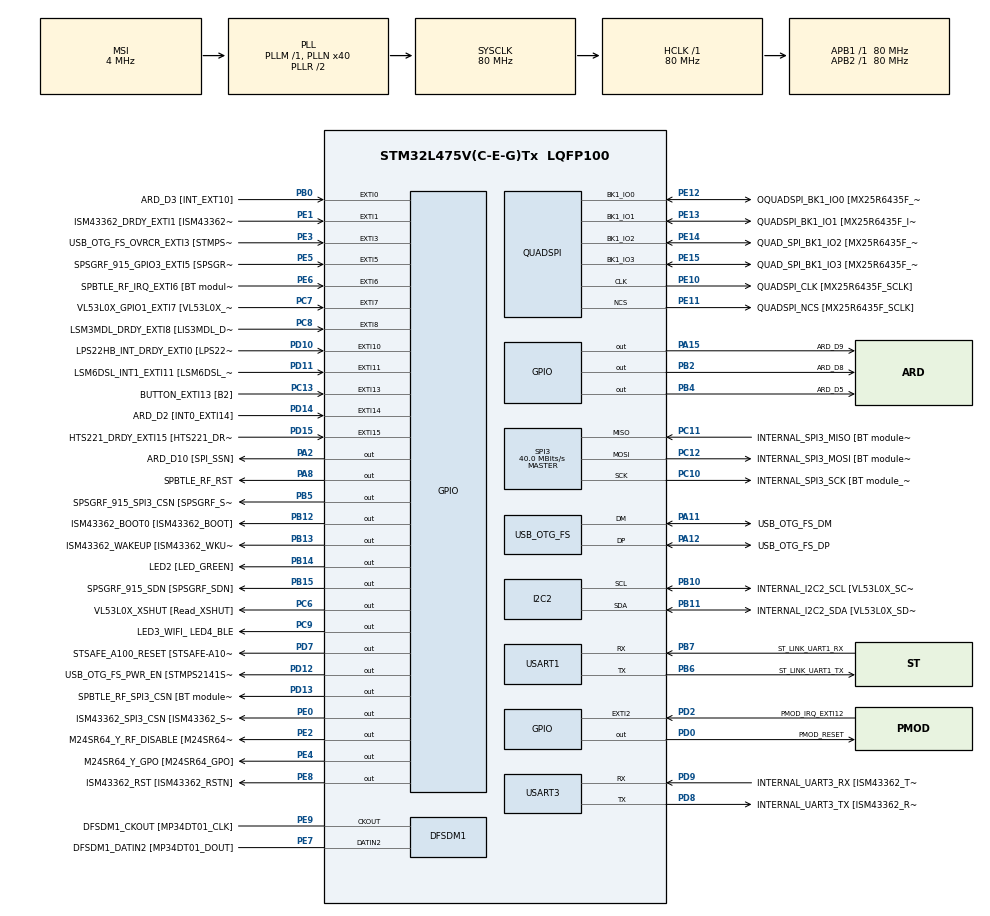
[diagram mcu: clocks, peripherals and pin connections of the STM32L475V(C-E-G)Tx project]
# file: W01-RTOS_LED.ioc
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FREERTOS.Mutexes01=LED2_Mutex,Static,LED2_MutexControlBlock,Available
FREERTOS.Tasks01=defaultTask,24,128,StartDefaultTask,Default,NULL,Dynamic,NULL,NULL;fastBlk,8,128,startFastBlk,Default,NULL,Static,fastBlkBuffer,fastBlkControlBlock;routineMT,16,128,startRoutineMT,Default,NULL,Static,routineMTBuffer,routineMTControlBlock;slowBlk,8,128,startSlowBlk,Default,NULL,Static,slowBlkBuffer,slowBlkControlBlock;btnBlkMT,16,128,startBtnBlkMT,Default,NULL,Static,btnBlkMTBuffer,btnBlkMTControlBlock;btnMT,8,128,startBtnMT,Default,NULL,Static,btnMTBuffer,btnMTControlBlock
FREERTOS.configUSE_NEWLIB_REENTRANT=1
Mcu.Family=STM32L4
Mcu.Name=STM32L475V(C-E-G)Tx
Mcu.Package=LQFP100
NVIC.EXTI15_10_IRQn=true\:5\:0\:false\:false\:true\:true\:true\:true\:true
NVIC.EXTI9_5_IRQn=true\:5\:0\:false\:false\:true\:true\:true\:true\:true
NVIC.PriorityGroup=NVIC_PRIORITYGROUP_4
NVIC.TIM6_DAC_IRQn=true\:15\:0\:false\:false\:true\:false\:false\:true\:true
NVIC.TimeBase=TIM6_DAC_IRQn
NVIC.TimeBaseIP=TIM6
PA0.GPIO_Label=ARD_D1 [UART4_TX]
PA0.Signal=UART4_TX
PA1.GPIO_Label=ARD_D0 [UART4_RX]
PA1.Signal=UART4_RX
PA10.GPIO_Label=USB_OTG_FS_ID
PA10.Signal=USB_OTG_FS_ID
PA11.GPIO_Label=USB_OTG_FS_DM
PA11.Mode=Device_Only
PA11.Signal=USB_OTG_FS_DM
PA12.GPIO_Label=USB_OTG_FS_DP
PA12.Mode=Device_Only
PA12.Signal=USB_OTG_FS_DP
PA13\ (JTMS-SWDIO).GPIO_Label=SYS_JTMS_SWDIO
PA13\ (JTMS-SWDIO).Mode=Serial_Wire
PA13\ (JTMS-SWDIO).Signal=SYS_JTMS-SWDIO
PA14\ (JTCK-SWCLK).GPIO_Label=SYS_JTCK_SWCLK
PA14\ (JTCK-SWCLK).Mode=Serial_Wire
PA14\ (JTCK-SWCLK).Signal=SYS_JTCK-SWCLK
PA15\ (JTDI).GPIO_Label=ARD_D9
PA15\ (JTDI).Signal=GPIO_Output
PA2.GPIO_Label=ARD_D10 [SPI_SSN]
PA2.Signal=GPIO_Output
PA3.GPIO_Label=ARD_D4
PA3.Signal=S_TIM2_CH4
PA4.GPIO_Label=ARD_D7
PA4.Signal=ADCx_IN9
PA5.GPIO_Label=ARD_D13 [SPI1_SCK]
PA5.Signal=SPI1_SCK
PA6.GPIO_Label=ARD_D12 [SPI1_MISO]
PA6.Signal=SPI1_MISO
PA7.GPIO_Label=ARD_D11 [SPI1_MOSI]
PA7.Signal=SPI1_MOSI
PA8.GPIO_Label=SPBTLE_RF_RST
PA8.Signal=GPIO_Output
PA9.GPIO_Label=USB_OTG_FS_VBUS [STMPS2141STR_OUT]
PA9.Signal=USB_OTG_FS_VBUS
PB0.GPIO_Label=ARD_D3 [INT_EXT10]
PB0.Signal=GPXTI0
PB1.GPIO_Label=ARD_D6 [ADC1_IN6]
PB1.Signal=ADCx_IN16
PB10.GPIO_Label=INTERNAL_I2C2_SCL [VL53L0X_SCL]
PB10.GPIO_Pu=GPIO_PULLUP
PB10.Mode=I2C
PB10.Signal=I2C2_SCL
PB11.GPIO_Label=INTERNAL_I2C2_SDA [VL53L0X_SDA]
PB11.GPIO_Pu=GPIO_PULLUP
PB11.Mode=I2C
PB11.Signal=I2C2_SDA
PB12.GPIO_Label=ISM43362_BOOT0 [ISM43362_BOOT]
PB12.Signal=GPIO_Output
PB13.GPIO_Label=ISM43362_WAKEUP [ISM43362_WKUP]
PB13.Signal=GPIO_Output
PB14.GPIO_Label=LED2 [LED_GREEN]
PB14.Signal=GPIO_Output
PB15.GPIO_Label=SPSGRF_915_SDN [SPSGRF_SDN]
PB15.Signal=GPIO_Output
PB2.GPIO_Label=ARD_D8
PB2.Signal=GPIO_Output
PB3\ (JTDO-TRACESWO).GPIO_Label=SYS_JTD0_SWO
PB3\ (JTDO-TRACESWO).Signal=SYS_JTDO-SWO
PB4\ (NJTRST).GPIO_Label=ARD_D5
PB4\ (NJTRST).Signal=GPIO_Output
PB5.GPIO_Label=SPSGRF_915_SPI3_CSN [SPSGRF_SPI_CS]
PB5.PinState=GPIO_PIN_SET
PB5.Signal=GPIO_Output
PB6.GPIO_Label=ST_LINK_UART1_TX
PB6.Mode=Asynchronous
PB6.Signal=USART1_TX
PB7.GPIO_Label=ST_LINK_UART1_RX
PB7.Mode=Asynchronous
PB7.Signal=USART1_RX
PB8.GPIO_Label=ARD_D15 [I2C1_SCL]
PB8.Signal=I2C1_SCL
PB9.GPIO_Label=ARD_D14 [I2C1_SDA]
PB9.Signal=I2C1_SDA
PC0.GPIO_Label=ARD_A5 [ADC]
PC0.Signal=ADCx_IN1
PC1.GPIO_Label=ARD_A4 [ADC]
PC1.Signal=ADCx_IN2
PC10.GPIO_Label=INTERNAL_SPI3_SCK [BT module_SPI_SCLK] [ISM43362_SCK]
PC10.Mode=Full_Duplex_Master
PC10.Signal=SPI3_SCK
PC11.GPIO_Label=INTERNAL_SPI3_MISO [BT module_SPI_MISO] [ISM43362_MISO]
PC11.Mode=Full_Duplex_Master
PC11.Signal=SPI3_MISO
PC12.GPIO_Label=INTERNAL_SPI3_MOSI [BT module_SPI_MOSI] [ISM43362_MOSI]
PC12.Mode=Full_Duplex_Master
PC12.Signal=SPI3_MOSI
PC13.GPIO_Label=BUTTON_EXTI13 [B2]
PC13.GPIO_ModeDefaultEXTI=GPIO_MODE_IT_FALLING
PC13.GPIO_PuPd=GPIO_PULLUP
PC13.Signal=GPXTI13
PC14-OSC32_IN\ (PC14).Mode=LSE-External-Oscillator
PC14-OSC32_IN\ (PC14).Signal=RCC_OSC32_IN
PC15-OSC32_OUT\ (PC15).Mode=LSE-External-Oscillator
PC15-OSC32_OUT\ (PC15).Signal=RCC_OSC32_OUT
PC2.GPIO_Label=ARD_A3 [ADC]
PC2.Signal=ADCx_IN3
PC3.GPIO_Label=ARD_A2 [ADC]
PC3.Signal=ADCx_IN4
PC4.GPIO_Label=ARD_A1 [ADC]
PC4.Signal=ADCx_IN13
PC5.GPIO_Label=ARD_A0 [ADC]
PC5.Signal=ADCx_IN14
PC6.GPIO_Label=VL53L0X_XSHUT [Read_XSHUT]
PC6.Signal=GPIO_Output
PC7.GPIO_Label=VL53L0X_GPIO1_EXTI7 [VL53L0X_GPIO1]
PC7.Signal=GPXTI7
PC8.GPIO_Label=LSM3MDL_DRDY_EXTI8 [LIS3MDL_DRDY]
PC8.Signal=GPXTI8
PC9.GPIO_Label=LED3_WIFI_ LED4_BLE
PC9.Signal=GPIO_Output
PD0.GPIO_Label=PMOD_RESET
PD0.Signal=GPIO_Output
PD1.GPIO_Label=PMOD_SPI2_SCK
PD1.Signal=SPI2_SCK
PD10.GPIO_Label=LPS22HB_INT_DRDY_EXTI0 [LPS22HB_INT_DRDY] 
PD10.Signal=GPXTI10
PD11.GPIO_Label=LSM6DSL_INT1_EXTI11 [LSM6DSL_INT1]
PD11.Signal=GPXTI11
PD12.GPIO_Label=USB_OTG_FS_PWR_EN [STMPS2141STR_EN]
PD12.Signal=GPIO_Output
PD13.GPIO_Label=SPBTLE_RF_SPI3_CSN [BT module_SPI_CS]
PD13.PinState=GPIO_PIN_SET
PD13.Signal=GPIO_Output
PD14.GPIO_Label=ARD_D2 [INT0_EXTI14]
PD14.Signal=GPXTI14
PD15.GPIO_Label=HTS221_DRDY_EXTI15 [HTS221_DRDY]
PD15.Signal=GPXTI15
PD2.GPIO_Label=PMOD_IRQ_EXTI12
PD2.Signal=GPXTI2
PD3.GPIO_Label=PMOD_UART2_CTS
PD3.Signal=USART2_CTS
PD4.GPIO_Label=PMOD_UART2_RTS
PD4.Signal=USART2_RTS
PD5.GPIO_Label=PMOD_UART2_TX
PD5.Signal=USART2_TX
PD6.GPIO_Label=PMOD_UART2_RX
PD6.Signal=USART2_RX
PD7.GPIO_Label=STSAFE_A100_RESET [STSAFE-A100_RESET]
PD7.Signal=GPIO_Output
PD8.GPIO_Label=INTERNAL_UART3_TX [ISM43362_RX]
PD8.Mode=Asynchronous
PD8.Signal=USART3_TX
PD9.GPIO_Label=INTERNAL_UART3_RX [ISM43362_TX]
PD9.Mode=Asynchronous
PD9.Signal=USART3_RX
PE0.GPIO_Label=ISM43362_SPI3_CSN [ISM43362_SSN]
PE0.PinState=GPIO_PIN_SET
PE0.Signal=GPIO_Output
PE1.GPIO_Label=ISM43362_DRDY_EXTI1 [ISM43362_DATARDY]
PE1.Signal=GPXTI1
PE10.GPIO_Label=QUADSPI_CLK [MX25R6435F_SCLK]
PE10.Mode=Single Bank
PE10.Signal=QUADSPI_CLK
PE11.GPIO_Label=QUADSPI_NCS [MX25R6435F_SCLK]
PE11.Mode=Single Bank
PE11.Signal=QUADSPI_NCS
PE12.GPIO_Label=OQUADSPI_BK1_IO0 [MX25R6435F_IO0]
PE12.Mode=Single Bank
PE12.Signal=QUADSPI_BK1_IO0
PE13.GPIO_Label=QUADSPI_BK1_IO1 [MX25R6435F_IO1]
PE13.Mode=Single Bank
PE13.Signal=QUADSPI_BK1_IO1
PE14.GPIO_Label=QUAD_SPI_BK1_IO2 [MX25R6435F_IO2]
PE14.Mode=Single Bank
PE14.Signal=QUADSPI_BK1_IO2
PE15.GPIO_Label=QUAD_SPI_BK1_IO3 [MX25R6435F_IO3]
PE15.Mode=Single Bank
PE15.Signal=QUADSPI_BK1_IO3
PE2.GPIO_Label=M24SR64_Y_RF_DISABLE [M24SR64_RFDIS]
PE2.Signal=GPIO_Output
PE3.GPIO_Label=USB_OTG_FS_OVRCR_EXTI3 [STMPS2141STR_FAULT]
PE3.Signal=GPXTI3
PE4.GPIO_Label=M24SR64_Y_GPO [M24SR64_GPO]
PE4.Signal=GPIO_Output
PE5.GPIO_Label=SPSGRF_915_GPIO3_EXTI5 [SPSGRF_GPIO_3]
PE5.Signal=GPXTI5
PE6.GPIO_Label=SPBTLE_RF_IRQ_EXTI6 [BT module_SPI_IRQ]
PE6.Signal=GPXTI6
PE7.GPIO_Label=DFSDM1_DATIN2 [MP34DT01_DOUT]
PE7.Signal=S_DATAIN2DFSDM1
PE8.GPIO_Label=ISM43362_RST [ISM43362_RSTN]
PE8.Signal=GPIO_Output
PE9.GPIO_Label=DFSDM1_CKOUT [MP34DT01_CLK]
PE9.Signal=S_CKOUTDFSDM1
ProjectManager.HeapSize=0x200
ProjectManager.StackSize=0x400
ProjectManager.TargetToolchain=STM32CubeIDE
QUADSPI.ClockPrescaler=2
QUADSPI.FifoThreshold=4
QUADSPI.FlashSize=23
QUADSPI.SampleShifting=QSPI_SAMPLE_SHIFTING_HALFCYCLE
RCC.ADCFreq_Value=48000000
RCC.AHBFreq_Value=80000000
RCC.APB1Freq_Value=80000000
RCC.APB1TimFreq_Value=80000000
RCC.APB2Freq_Value=80000000
RCC.APB2TimFreq_Value=80000000
RCC.CortexFreq_Value=80000000
RCC.HCLKFreq_Value=80000000
RCC.HSE_VALUE=8000000
RCC.HSI_VALUE=16000000
RCC.MSI_VALUE=4000000
RCC.PLLN=40
RCC.PLLSAI1N=24
RCC.SYSCLKFreq_VALUE=80000000
RCC.SYSCLKSource=RCC_SYSCLKSOURCE_PLLCLK
RCC.USBFreq_Value=48000000
RCC.VCOOutputFreq_Value=160000000
SH.ADCx_IN1.0=ADC1_IN1
SH.ADCx_IN13.0=ADC1_IN13
SH.ADCx_IN14.0=ADC1_IN14
SH.ADCx_IN16.0=ADC1_IN16
SH.ADCx_IN2.0=ADC1_IN2
SH.ADCx_IN3.0=ADC1_IN3
SH.ADCx_IN4.0=ADC1_IN4
SH.ADCx_IN9.0=ADC1_IN9
SH.S_CKOUTDFSDM1.0=DFSDM1_CKOUT,CKOUT
SH.S_CKOUTDFSDM1.1=DFSDM1_CKOUT,PDM_SPI_Input_from_ch12_and_Internal_Clock
SH.S_DATAIN2DFSDM1.0=DFSDM1_DATIN2,PDM_SPI_Input_from_ch12_and_Internal_Clock
SH.S_TIM2_CH4.0=TIM2_CH4
SPI3.CalculateBaudRate=40.0 MBits/s
SPI3.Direction=SPI_DIRECTION_2LINES
SPI3.Mode=SPI_MODE_MASTER
SPI3.VirtualType=VM_MASTER
USART1.VirtualMode-Asynchronous=VM_ASYNC
USART3.VirtualMode-Asynchronous=VM_ASYNC
USB_OTG_FS.VirtualMode=Device_Only
VP_FREERTOS_VS_CMSIS_V2.Mode=CMSIS_V2
VP_SYS_VS_tim6.Mode=TIM6
board=B-L475E-IOT01A2

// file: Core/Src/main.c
/* USER CODE BEGIN Header */
/**
  ******************************************************************************
  * @file           : main.c
  * @brief          : Main program body
  ******************************************************************************
  * @attention
  *
  * Copyright (c) 2025 STMicroelectronics.
  * All rights reserved.
  *
  * This software is licensed under terms that can be found in the LICENSE file
  * in the root directory of this software component.
  * If no LICENSE file comes with this software, it is provided AS-IS.
  *
  ******************************************************************************
  */
/* USER CODE END Header */
#include "main.h"
#include "cmsis_os.h"

typedef StaticTask_t osStaticThreadDef_t;
typedef StaticSemaphore_t osStaticMutexDef_t;

DFSDM_Channel_HandleTypeDef hdfsdm1_channel1;

I2C_HandleTypeDef hi2c2;

QSPI_HandleTypeDef hqspi;

SPI_HandleTypeDef hspi3;

UART_HandleTypeDef huart1;
UART_HandleTypeDef huart3;

PCD_HandleTypeDef hpcd_USB_OTG_FS;

/* Definitions for defaultTask */
osThreadId_t defaultTaskHandle;
const osThreadAttr_t defaultTask_attributes = {
  .name = "defaultTask",
  .stack_size = 128 * 4,
  .priority = (osPriority_t) osPriorityNormal,
};
/* Definitions for fastBlk */
osThreadId_t fastBlkHandle;
uint32_t fastBlkBuffer[ 128 ];
osStaticThreadDef_t fastBlkControlBlock;
const osThreadAttr_t fastBlk_attributes = {
  .name = "fastBlk",
  .cb_mem = &fastBlkControlBlock,
  .cb_size = sizeof(fastBlkControlBlock),
  .stack_mem = &fastBlkBuffer[0],
  .stack_size = sizeof(fastBlkBuffer),
  .priority = (osPriority_t) osPriorityLow,
};
/* Definitions for routineMT */
osThreadId_t routineMTHandle;
uint32_t routineMTBuffer[ 128 ];
osStaticThreadDef_t routineMTControlBlock;
const osThreadAttr_t routineMT_attributes = {
  .name = "routineMT",
  .cb_mem = &routineMTControlBlock,
  .cb_size = sizeof(routineMTControlBlock),
  .stack_mem = &routineMTBuffer[0],
  .stack_size = sizeof(routineMTBuffer),
  .priority = (osPriority_t) osPriorityBelowNormal,
};
/* Definitions for slowBlk */
osThreadId_t slowBlkHandle;
uint32_t slowBlkBuffer[ 128 ];
osStaticThreadDef_t slowBlkControlBlock;
const osThreadAttr_t slowBlk_attributes = {
  .name = "slowBlk",
  .cb_mem = &slowBlkControlBlock,
  .cb_size = sizeof(slowBlkControlBlock),
  .stack_mem = &slowBlkBuffer[0],
  .stack_size = sizeof(slowBlkBuffer),
  .priority = (osPriority_t) osPriorityLow,
};
/* Definitions for btnBlkMT */
osThreadId_t btnBlkMTHandle;
uint32_t btnBlkMTBuffer[ 128 ];
osStaticThreadDef_t btnBlkMTControlBlock;
const osThreadAttr_t btnBlkMT_attributes = {
  .name = "btnBlkMT",
  .cb_mem = &btnBlkMTControlBlock,
  .cb_size = sizeof(btnBlkMTControlBlock),
  .stack_mem = &btnBlkMTBuffer[0],
  .stack_size = sizeof(btnBlkMTBuffer),
  .priority = (osPriority_t) osPriorityBelowNormal,
};
/* Definitions for btnMT */
osThreadId_t btnMTHandle;
uint32_t btnMTBuffer[ 128 ];
osStaticThreadDef_t btnMTControlBlock;
const osThreadAttr_t btnMT_attributes = {
  .name = "btnMT",
  .cb_mem = &btnMTControlBlock,
  .cb_size = sizeof(btnMTControlBlock),
  .stack_mem = &btnMTBuffer[0],
  .stack_size = sizeof(btnMTBuffer),
  .priority = (osPriority_t) osPriorityLow,
};
/* Definitions for LED2_Mutex */
osMutexId_t LED2_MutexHandle;
osStaticMutexDef_t LED2_MutexControlBlock;
const osMutexAttr_t LED2_Mutex_attributes = {
  .name = "LED2_Mutex",
  .cb_mem = &LED2_MutexControlBlock,
  .cb_size = sizeof(LED2_MutexControlBlock),
};

void SystemClock_Config(void);
static void MX_GPIO_Init(void);
static void MX_DFSDM1_Init(void);
static void MX_I2C2_Init(void);
static void MX_QUADSPI_Init(void);
static void MX_SPI3_Init(void);
static void MX_USART1_UART_Init(void);
static void MX_USART3_UART_Init(void);
static void MX_USB_OTG_FS_PCD_Init(void);
void StartDefaultTask(void *argument);
void startFastBlk(void *argument);
void startRoutineMT(void *argument);
void startSlowBlk(void *argument);
void startBtnBlkMT(void *argument);
void startBtnMT(void *argument);

/* USER CODE BEGIN 0 */
int button = 0;
int short_press = -1, long_press = -1;
int routine_acquire = 1, btn_acquire = 1;
int test = -1;
/* USER CODE END 0 */

int main(void)
{

  /* MCU Configuration--------------------------------------------------------*/

  /* Reset of all peripherals, Initializes the Flash interface and the Systick. */
  HAL_Init();

  /* Configure the system clock */
  SystemClock_Config();

  /* Initialize all configured peripherals */
  MX_GPIO_Init();
  MX_DFSDM1_Init();
  MX_I2C2_Init();
  MX_QUADSPI_Init();
  MX_SPI3_Init();
  MX_USART1_UART_Init();
  MX_USART3_UART_Init();
  MX_USB_OTG_FS_PCD_Init();

  /* Init scheduler */
  osKernelInitialize();
  /* Create the mutex(es) */
  /* creation of LED2_Mutex */
  LED2_MutexHandle = osMutexNew(&LED2_Mutex_attributes);

  /* Create the thread(s) */
  /* creation of defaultTask */
  defaultTaskHandle = osThreadNew(StartDefaultTask, NULL, &defaultTask_attributes);

  /* creation of fastBlk */
  fastBlkHandle = osThreadNew(startFastBlk, NULL, &fastBlk_attributes);

  /* creation of routineMT */
  routineMTHandle = osThreadNew(startRoutineMT, NULL, &routineMT_attributes);

  /* creation of slowBlk */
  slowBlkHandle = osThreadNew(startSlowBlk, NULL, &slowBlk_attributes);

  /* creation of btnBlkMT */
  btnBlkMTHandle = osThreadNew(startBtnBlkMT, NULL, &btnBlkMT_attributes);

  /* creation of btnMT */
  btnMTHandle = osThreadNew(startBtnMT, NULL, &btnMT_attributes);

  /* USER CODE BEGIN RTOS_THREADS */
  /* add threads, ... */
  osThreadSuspend(fastBlkHandle);
  osThreadSuspend(slowBlkHandle);
  /* USER CODE END RTOS_THREADS */

  /* Start scheduler */
  osKernelStart();

  /* We should never get here as control is now taken by the scheduler */

  /* Infinite loop */
  while (1)
  {

  }
}

void SystemClock_Config(void)
{
  RCC_OscInitTypeDef RCC_OscInitStruct = {0};
  RCC_ClkInitTypeDef RCC_ClkInitStruct = {0};

  /** Configure the main internal regulator output voltage
  */
  if (HAL_PWREx_ControlVoltageScaling(PWR_REGULATOR_VOLTAGE_SCALE1) != HAL_OK)
  {
    Error_Handler();
  }

  /** Configure LSE Drive Capability
  */
  HAL_PWR_EnableBkUpAccess();
  __HAL_RCC_LSEDRIVE_CONFIG(RCC_LSEDRIVE_LOW);

  /** Initializes the RCC Oscillators according to the specified parameters
  * in the RCC_OscInitTypeDef structure.
  */
  RCC_OscInitStruct.OscillatorType = RCC_OSCILLATORTYPE_LSE|RCC_OSCILLATORTYPE_MSI;
  RCC_OscInitStruct.LSEState = RCC_LSE_ON;
  RCC_OscInitStruct.MSIState = RCC_MSI_ON;
  RCC_OscInitStruct.MSICalibrationValue = 0;
  RCC_OscInitStruct.MSIClockRange = RCC_MSIRANGE_6;
  RCC_OscInitStruct.PLL.PLLState = RCC_PLL_ON;
  RCC_OscInitStruct.PLL.PLLSource = RCC_PLLSOURCE_MSI;
  RCC_OscInitStruct.PLL.PLLM = 1;
  RCC_OscInitStruct.PLL.PLLN = 40;
  RCC_OscInitStruct.PLL.PLLP = RCC_PLLP_DIV7;
  RCC_OscInitStruct.PLL.PLLQ = RCC_PLLQ_DIV2;
  RCC_OscInitStruct.PLL.PLLR = RCC_PLLR_DIV2;
  if (HAL_RCC_OscConfig(&RCC_OscInitStruct) != HAL_OK)
  {
    Error_Handler();
  }

  /** Initializes the CPU, AHB and APB buses clocks
  */
  RCC_ClkInitStruct.ClockType = RCC_CLOCKTYPE_HCLK|RCC_CLOCKTYPE_SYSCLK
                              |RCC_CLOCKTYPE_PCLK1|RCC_CLOCKTYPE_PCLK2;
  RCC_ClkInitStruct.SYSCLKSource = RCC_SYSCLKSOURCE_PLLCLK;
  RCC_ClkInitStruct.AHBCLKDivider = RCC_SYSCLK_DIV1;
  RCC_ClkInitStruct.APB1CLKDivider = RCC_HCLK_DIV1;
  RCC_ClkInitStruct.APB2CLKDivider = RCC_HCLK_DIV1;

  if (HAL_RCC_ClockConfig(&RCC_ClkInitStruct, FLASH_LATENCY_4) != HAL_OK)
  {
    Error_Handler();
  }

  /** Enable MSI Auto calibration
  */
  HAL_RCCEx_EnableMSIPLLMode();
}

static void MX_DFSDM1_Init(void)
{

  hdfsdm1_channel1.Instance = DFSDM1_Channel1;
  hdfsdm1_channel1.Init.OutputClock.Activation = ENABLE;
  hdfsdm1_channel1.Init.OutputClock.Selection = DFSDM_CHANNEL_OUTPUT_CLOCK_SYSTEM;
  hdfsdm1_channel1.Init.OutputClock.Divider = 2;
  hdfsdm1_channel1.Init.Input.Multiplexer = DFSDM_CHANNEL_EXTERNAL_INPUTS;
  hdfsdm1_channel1.Init.Input.DataPacking = DFSDM_CHANNEL_STANDARD_MODE;
  hdfsdm1_channel1.Init.Input.Pins = DFSDM_CHANNEL_FOLLOWING_CHANNEL_PINS;
  hdfsdm1_channel1.Init.SerialInterface.Type = DFSDM_CHANNEL_SPI_RISING;
  hdfsdm1_channel1.Init.SerialInterface.SpiClock = DFSDM_CHANNEL_SPI_CLOCK_INTERNAL;
  hdfsdm1_channel1.Init.Awd.FilterOrder = DFSDM_CHANNEL_FASTSINC_ORDER;
  hdfsdm1_channel1.Init.Awd.Oversampling = 1;
  hdfsdm1_channel1.Init.Offset = 0;
  hdfsdm1_channel1.Init.RightBitShift = 0x00;
  if (HAL_DFSDM_ChannelInit(&hdfsdm1_channel1) != HAL_OK)
  {
    Error_Handler();
  }

}

static void MX_I2C2_Init(void)
{

  hi2c2.Instance = I2C2;
  hi2c2.Init.Timing = 0x00000E14;
  hi2c2.Init.OwnAddress1 = 0;
  hi2c2.Init.AddressingMode = I2C_ADDRESSINGMODE_7BIT;
  hi2c2.Init.DualAddressMode = I2C_DUALADDRESS_DISABLE;
  hi2c2.Init.OwnAddress2 = 0;
  hi2c2.Init.OwnAddress2Masks = I2C_OA2_NOMASK;
  hi2c2.Init.GeneralCallMode = I2C_GENERALCALL_DISABLE;
  hi2c2.Init.NoStretchMode = I2C_NOSTRETCH_DISABLE;
  if (HAL_I2C_Init(&hi2c2) != HAL_OK)
  {
    Error_Handler();
  }

  /** Configure Analogue filter
  */
  if (HAL_I2CEx_ConfigAnalogFilter(&hi2c2, I2C_ANALOGFILTER_ENABLE) != HAL_OK)
  {
    Error_Handler();
  }

  /** Configure Digital filter
  */
  if (HAL_I2CEx_ConfigDigitalFilter(&hi2c2, 0) != HAL_OK)
  {
    Error_Handler();
  }

}

static void MX_QUADSPI_Init(void)
{

  /* QUADSPI parameter configuration*/
  hqspi.Instance = QUADSPI;
  hqspi.Init.ClockPrescaler = 2;
  hqspi.Init.FifoThreshold = 4;
  hqspi.Init.SampleShifting = QSPI_SAMPLE_SHIFTING_HALFCYCLE;
  hqspi.Init.FlashSize = 23;
  hqspi.Init.ChipSelectHighTime = QSPI_CS_HIGH_TIME_1_CYCLE;
  hqspi.Init.ClockMode = QSPI_CLOCK_MODE_0;
  if (HAL_QSPI_Init(&hqspi) != HAL_OK)
  {
    Error_Handler();
  }

}

static void MX_SPI3_Init(void)
{

  /* SPI3 parameter configuration*/
  hspi3.Instance = SPI3;
  hspi3.Init.Mode = SPI_MODE_MASTER;
  hspi3.Init.Direction = SPI_DIRECTION_2LINES;
  hspi3.Init.DataSize = SPI_DATASIZE_4BIT;
  hspi3.Init.CLKPolarity = SPI_POLARITY_LOW;
  hspi3.Init.CLKPhase = SPI_PHASE_1EDGE;
  hspi3.Init.NSS = SPI_NSS_SOFT;
  hspi3.Init.BaudRatePrescaler = SPI_BAUDRATEPRESCALER_2;
  hspi3.Init.FirstBit = SPI_FIRSTBIT_MSB;
  hspi3.Init.TIMode = SPI_TIMODE_DISABLE;
  hspi3.Init.CRCCalculation = SPI_CRCCALCULATION_DISABLE;
  hspi3.Init.CRCPolynomial = 7;
  hspi3.Init.CRCLength = SPI_CRC_LENGTH_DATASIZE;
  hspi3.Init.NSSPMode = SPI_NSS_PULSE_ENABLE;
  if (HAL_SPI_Init(&hspi3) != HAL_OK)
  {
    Error_Handler();
  }

}

static void MX_USART1_UART_Init(void)
{

  huart1.Instance = USART1;
  huart1.Init.BaudRate = 115200;
  huart1.Init.WordLength = UART_WORDLENGTH_8B;
  huart1.Init.StopBits = UART_STOPBITS_1;
  huart1.Init.Parity = UART_PARITY_NONE;
  huart1.Init.Mode = UART_MODE_TX_RX;
  huart1.Init.HwFlowCtl = UART_HWCONTROL_NONE;
  huart1.Init.OverSampling = UART_OVERSAMPLING_16;
  huart1.Init.OneBitSampling = UART_ONE_BIT_SAMPLE_DISABLE;
  huart1.AdvancedInit.AdvFeatureInit = UART_ADVFEATURE_NO_INIT;
  if (HAL_UART_Init(&huart1) != HAL_OK)
  {
    Error_Handler();
  }

}

static void MX_USART3_UART_Init(void)
{

  huart3.Instance = USART3;
  huart3.Init.BaudRate = 115200;
  huart3.Init.WordLength = UART_WORDLENGTH_8B;
  huart3.Init.StopBits = UART_STOPBITS_1;
  huart3.Init.Parity = UART_PARITY_NONE;
  huart3.Init.Mode = UART_MODE_TX_RX;
  huart3.Init.HwFlowCtl = UART_HWCONTROL_NONE;
  huart3.Init.OverSampling = UART_OVERSAMPLING_16;
  huart3.Init.OneBitSampling = UART_ONE_BIT_SAMPLE_DISABLE;
  huart3.AdvancedInit.AdvFeatureInit = UART_ADVFEATURE_NO_INIT;
  if (HAL_UART_Init(&huart3) != HAL_OK)
  {
    Error_Handler();
  }

}

static void MX_USB_OTG_FS_PCD_Init(void)
{

  hpcd_USB_OTG_FS.Instance = USB_OTG_FS;
  hpcd_USB_OTG_FS.Init.dev_endpoints = 6;
  hpcd_USB_OTG_FS.Init.speed = PCD_SPEED_FULL;
  hpcd_USB_OTG_FS.Init.phy_itface = PCD_PHY_EMBEDDED;
  hpcd_USB_OTG_FS.Init.Sof_enable = DISABLE;
  hpcd_USB_OTG_FS.Init.low_power_enable = DISABLE;
  hpcd_USB_OTG_FS.Init.lpm_enable = DISABLE;
  hpcd_USB_OTG_FS.Init.battery_charging_enable = DISABLE;
  hpcd_USB_OTG_FS.Init.use_dedicated_ep1 = DISABLE;
  hpcd_USB_OTG_FS.Init.vbus_sensing_enable = DISABLE;
  if (HAL_PCD_Init(&hpcd_USB_OTG_FS) != HAL_OK)
  {
    Error_Handler();
  }

}

static void MX_GPIO_Init(void)
{
  GPIO_InitTypeDef GPIO_InitStruct = {0};

  /* GPIO Ports Clock Enable */
  __HAL_RCC_GPIOE_CLK_ENABLE();
  __HAL_RCC_GPIOC_CLK_ENABLE();
  __HAL_RCC_GPIOA_CLK_ENABLE();
  __HAL_RCC_GPIOB_CLK_ENABLE();
  __HAL_RCC_GPIOD_CLK_ENABLE();

  /*Configure GPIO pin Output Level */
  HAL_GPIO_WritePin(GPIOE, M24SR64_Y_RF_DISABLE_Pin|M24SR64_Y_GPO_Pin|ISM43362_RST_Pin, GPIO_PIN_RESET);

  /*Configure GPIO pin Output Level */
  HAL_GPIO_WritePin(GPIOA, ARD_D10_Pin|SPBTLE_RF_RST_Pin|ARD_D9_Pin, GPIO_PIN_RESET);

  /*Configure GPIO pin Output Level */
  HAL_GPIO_WritePin(GPIOB, ARD_D8_Pin|ISM43362_BOOT0_Pin|ISM43362_WAKEUP_Pin|LED2_Pin
                          |SPSGRF_915_SDN_Pin|ARD_D5_Pin, GPIO_PIN_RESET);

  /*Configure GPIO pin Output Level */
  HAL_GPIO_WritePin(GPIOD, USB_OTG_FS_PWR_EN_Pin|PMOD_RESET_Pin|STSAFE_A100_RESET_Pin, GPIO_PIN_RESET);

  /*Configure GPIO pin Output Level */
  HAL_GPIO_WritePin(SPBTLE_RF_SPI3_CSN_GPIO_Port, SPBTLE_RF_SPI3_CSN_Pin, GPIO_PIN_SET);

  /*Configure GPIO pin Output Level */
  HAL_GPIO_WritePin(GPIOC, VL53L0X_XSHUT_Pin|LED3_WIFI__LED4_BLE_Pin, GPIO_PIN_RESET);

  /*Configure GPIO pin Output Level */
  HAL_GPIO_WritePin(SPSGRF_915_SPI3_CSN_GPIO_Port, SPSGRF_915_SPI3_CSN_Pin, GPIO_PIN_SET);

  /*Configure GPIO pin Output Level */
  HAL_GPIO_WritePin(ISM43362_SPI3_CSN_GPIO_Port, ISM43362_SPI3_CSN_Pin, GPIO_PIN_SET);

  /*Configure GPIO pins : M24SR64_Y_RF_DISABLE_Pin M24SR64_Y_GPO_Pin ISM43362_RST_Pin ISM43362_SPI3_CSN_Pin */
  GPIO_InitStruct.Pin = M24SR64_Y_RF_DISABLE_Pin|M24SR64_Y_GPO_Pin|ISM43362_RST_Pin|ISM43362_SPI3_CSN_Pin;
  GPIO_InitStruct.Mode = GPIO_MODE_OUTPUT_PP;
  GPIO_InitStruct.Pull = GPIO_NOPULL;
  GPIO_InitStruct.Speed = GPIO_SPEED_FREQ_LOW;
  HAL_GPIO_Init(GPIOE, &GPIO_InitStruct);

  /*Configure GPIO pins : USB_OTG_FS_OVRCR_EXTI3_Pin SPSGRF_915_GPIO3_EXTI5_Pin SPBTLE_RF_IRQ_EXTI6_Pin ISM43362_DRDY_EXTI1_Pin */
  GPIO_InitStruct.Pin = USB_OTG_FS_OVRCR_EXTI3_Pin|SPSGRF_915_GPIO3_EXTI5_Pin|SPBTLE_RF_IRQ_EXTI6_Pin|ISM43362_DRDY_EXTI1_Pin;
  GPIO_InitStruct.Mode = GPIO_MODE_IT_RISING;
  GPIO_InitStruct.Pull = GPIO_NOPULL;
  HAL_GPIO_Init(GPIOE, &GPIO_InitStruct);

  /*Configure GPIO pin : BUTTON_EXTI13_Pin */
  GPIO_InitStruct.Pin = BUTTON_EXTI13_Pin;
  GPIO_InitStruct.Mode = GPIO_MODE_IT_FALLING;
  GPIO_InitStruct.Pull = GPIO_PULLUP;
  HAL_GPIO_Init(BUTTON_EXTI13_GPIO_Port, &GPIO_InitStruct);

  /*Configure GPIO pins : ARD_A5_Pin ARD_A4_Pin ARD_A3_Pin ARD_A2_Pin
                           ARD_A1_Pin ARD_A0_Pin */
  GPIO_InitStruct.Pin = ARD_A5_Pin|ARD_A4_Pin|ARD_A3_Pin|ARD_A2_Pin
                          |ARD_A1_Pin|ARD_A0_Pin;
  GPIO_InitStruct.Mode = GPIO_MODE_ANALOG_ADC_CONTROL;
  GPIO_InitStruct.Pull = GPIO_NOPULL;
  HAL_GPIO_Init(GPIOC, &GPIO_InitStruct);

  /*Configure GPIO pins : ARD_D1_Pin ARD_D0_Pin */
  GPIO_InitStruct.Pin = ARD_D1_Pin|ARD_D0_Pin;
  GPIO_InitStruct.Mode = GPIO_MODE_AF_PP;
  GPIO_InitStruct.Pull = GPIO_NOPULL;
  GPIO_InitStruct.Speed = GPIO_SPEED_FREQ_VERY_HIGH;
  GPIO_InitStruct.Alternate = GPIO_AF8_UART4;
  HAL_GPIO_Init(GPIOA, &GPIO_InitStruct);

  /*Configure GPIO pins : ARD_D10_Pin SPBTLE_RF_RST_Pin ARD_D9_Pin */
  GPIO_InitStruct.Pin = ARD_D10_Pin|SPBTLE_RF_RST_Pin|ARD_D9_Pin;
  GPIO_InitStruct.Mode = GPIO_MODE_OUTPUT_PP;
  GPIO_InitStruct.Pull = GPIO_NOPULL;
  GPIO_InitStruct.Speed = GPIO_SPEED_FREQ_LOW;
  HAL_GPIO_Init(GPIOA, &GPIO_InitStruct);

  /*Configure GPIO pin : ARD_D4_Pin */
  GPIO_InitStruct.Pin = ARD_D4_Pin;
  GPIO_InitStruct.Mode = GPIO_MODE_AF_PP;
  GPIO_InitStruct.Pull = GPIO_NOPULL;
  GPIO_InitStruct.Speed = GPIO_SPEED_FREQ_LOW;
  GPIO_InitStruct.Alternate = GPIO_AF1_TIM2;
  HAL_GPIO_Init(ARD_D4_GPIO_Port, &GPIO_InitStruct);

  /*Configure GPIO pin : ARD_D7_Pin */
  GPIO_InitStruct.Pin = ARD_D7_Pin;
  GPIO_InitStruct.Mode = GPIO_MODE_ANALOG_ADC_CONTROL;
  GPIO_InitStruct.Pull = GPIO_NOPULL;
  HAL_GPIO_Init(ARD_D7_GPIO_Port, &GPIO_InitStruct);

  /*Configure GPIO pins : ARD_D13_Pin ARD_D12_Pin ARD_D11_Pin */
  GPIO_InitStruct.Pin = ARD_D13_Pin|ARD_D12_Pin|ARD_D11_Pin;
  GPIO_InitStruct.Mode = GPIO_MODE_AF_PP;
  GPIO_InitStruct.Pull = GPIO_NOPULL;
  GPIO_InitStruct.Speed = GPIO_SPEED_FREQ_VERY_HIGH;
  GPIO_InitStruct.Alternate = GPIO_AF5_SPI1;
  HAL_GPIO_Init(GPIOA, &GPIO_InitStruct);

  /*Configure GPIO pin : ARD_D3_Pin */
  GPIO_InitStruct.Pin = ARD_D3_Pin;
  GPIO_InitStruct.Mode = GPIO_MODE_IT_RISING;
  GPIO_InitStruct.Pull = GPIO_NOPULL;
  HAL_GPIO_Init(ARD_D3_GPIO_Port, &GPIO_InitStruct);

  /*Configure GPIO pin : ARD_D6_Pin */
  GPIO_InitStruct.Pin = ARD_D6_Pin;
  GPIO_InitStruct.Mode = GPIO_MODE_ANALOG_ADC_CONTROL;
  GPIO_InitStruct.Pull = GPIO_NOPULL;
  HAL_GPIO_Init(ARD_D6_GPIO_Port, &GPIO_InitStruct);

  /*Configure GPIO pins : ARD_D8_Pin ISM43362_BOOT0_Pin ISM43362_WAKEUP_Pin LED2_Pin
                           SPSGRF_915_SDN_Pin ARD_D5_Pin SPSGRF_915_SPI3_CSN_Pin */
  GPIO_InitStruct.Pin = ARD_D8_Pin|ISM43362_BOOT0_Pin|ISM43362_WAKEUP_Pin|LED2_Pin
                          |SPSGRF_915_SDN_Pin|ARD_D5_Pin|SPSGRF_915_SPI3_CSN_Pin;
  GPIO_InitStruct.Mode = GPIO_MODE_OUTPUT_PP;
  GPIO_InitStruct.Pull = GPIO_NOPULL;
  GPIO_InitStruct.Speed = GPIO_SPEED_FREQ_LOW;
  HAL_GPIO_Init(GPIOB, &GPIO_InitStruct);

  /*Configure GPIO pins : LPS22HB_INT_DRDY_EXTI0_Pin LSM6DSL_INT1_EXTI11_Pin ARD_D2_Pin HTS221_DRDY_EXTI15_Pin
                           PMOD_IRQ_EXTI12_Pin */
  GPIO_InitStruct.Pin = LPS22HB_INT_DRDY_EXTI0_Pin|LSM6DSL_INT1_EXTI11_Pin|ARD_D2_Pin|HTS221_DRDY_EXTI15_Pin
                          |PMOD_IRQ_EXTI12_Pin;
  GPIO_InitStruct.Mode = GPIO_MODE_IT_RISING;
  GPIO_InitStruct.Pull = GPIO_NOPULL;
  HAL_GPIO_Init(GPIOD, &GPIO_InitStruct);

  /*Configure GPIO pins : USB_OTG_FS_PWR_EN_Pin SPBTLE_RF_SPI3_CSN_Pin PMOD_RESET_Pin STSAFE_A100_RESET_Pin */
  GPIO_InitStruct.Pin = USB_OTG_FS_PWR_EN_Pin|SPBTLE_RF_SPI3_CSN_Pin|PMOD_RESET_Pin|STSAFE_A100_RESET_Pin;
  GPIO_InitStruct.Mode = GPIO_MODE_OUTPUT_PP;
  GPIO_InitStruct.Pull = GPIO_NOPULL;
  GPIO_InitStruct.Speed = GPIO_SPEED_FREQ_LOW;
  HAL_GPIO_Init(GPIOD, &GPIO_InitStruct);

  /*Configure GPIO pins : VL53L0X_XSHUT_Pin LED3_WIFI__LED4_BLE_Pin */
  GPIO_InitStruct.Pin = VL53L0X_XSHUT_Pin|LED3_WIFI__LED4_BLE_Pin;
  GPIO_InitStruct.Mode = GPIO_MODE_OUTPUT_PP;
  GPIO_InitStruct.Pull = GPIO_NOPULL;
  GPIO_InitStruct.Speed = GPIO_SPEED_FREQ_LOW;
  HAL_GPIO_Init(GPIOC, &GPIO_InitStruct);

  /*Configure GPIO pins : VL53L0X_GPIO1_EXTI7_Pin LSM3MDL_DRDY_EXTI8_Pin */
  GPIO_InitStruct.Pin = VL53L0X_GPIO1_EXTI7_Pin|LSM3MDL_DRDY_EXTI8_Pin;
  GPIO_InitStruct.Mode = GPIO_MODE_IT_RISING;
  GPIO_InitStruct.Pull = GPIO_NOPULL;
  HAL_GPIO_Init(GPIOC, &GPIO_InitStruct);

  /*Configure GPIO pin : PMOD_SPI2_SCK_Pin */
  GPIO_InitStruct.Pin = PMOD_SPI2_SCK_Pin;
  GPIO_InitStruct.Mode = GPIO_MODE_AF_PP;
  GPIO_InitStruct.Pull = GPIO_NOPULL;
  GPIO_InitStruct.Speed = GPIO_SPEED_FREQ_VERY_HIGH;
  GPIO_InitStruct.Alternate = GPIO_AF5_SPI2;
  HAL_GPIO_Init(PMOD_SPI2_SCK_GPIO_Port, &GPIO_InitStruct);

  /*Configure GPIO pins : PMOD_UART2_CTS_Pin PMOD_UART2_RTS_Pin PMOD_UART2_TX_Pin PMOD_UART2_RX_Pin */
  GPIO_InitStruct.Pin = PMOD_UART2_CTS_Pin|PMOD_UART2_RTS_Pin|PMOD_UART2_TX_Pin|PMOD_UART2_RX_Pin;
  GPIO_InitStruct.Mode = GPIO_MODE_AF_PP;
  GPIO_InitStruct.Pull = GPIO_NOPULL;
  GPIO_InitStruct.Speed = GPIO_SPEED_FREQ_VERY_HIGH;
  GPIO_InitStruct.Alternate = GPIO_AF7_USART2;
  HAL_GPIO_Init(GPIOD, &GPIO_InitStruct);

  /*Configure GPIO pins : ARD_D15_Pin ARD_D14_Pin */
  GPIO_InitStruct.Pin = ARD_D15_Pin|ARD_D14_Pin;
  GPIO_InitStruct.Mode = GPIO_MODE_AF_OD;
  GPIO_InitStruct.Pull = GPIO_NOPULL;
  GPIO_InitStruct.Speed = GPIO_SPEED_FREQ_VERY_HIGH;
  GPIO_InitStruct.Alternate = GPIO_AF4_I2C1;
  HAL_GPIO_Init(GPIOB, &GPIO_InitStruct);

  /* EXTI interrupt init*/
  HAL_NVIC_SetPriority(EXTI9_5_IRQn, 5, 0);
  HAL_NVIC_EnableIRQ(EXTI9_5_IRQn);

  HAL_NVIC_SetPriority(EXTI15_10_IRQn, 5, 0);
  HAL_NVIC_EnableIRQ(EXTI15_10_IRQn);

}

/* USER CODE BEGIN 4 */
void HAL_GPIO_EXTI_Callback(uint16_t GPIO_Pin)
{
	if(GPIO_Pin == BUTTON_EXTI13_Pin)
		button = 1;
}
/* USER CODE END 4 */

void StartDefaultTask(void *argument)
{
  /* USER CODE BEGIN 5 */
  /* Infinite loop */
  for(;;)
  {
	test = HAL_GPIO_ReadPin(BUTTON_EXTI13_GPIO_Port, BUTTON_EXTI13_Pin);
    osDelay(1);
  }
  /* USER CODE END 5 */
}

void startFastBlk(void *argument)
{
  /* USER CODE BEGIN startFastBlk */
  /* Infinite loop */
  for(;;)
  {
	  HAL_GPIO_TogglePin(LED2_GPIO_Port, LED2_Pin);
    osDelay(50);
  }
  /* USER CODE END startFastBlk */
}

void startRoutineMT(void *argument)
{
  /* USER CODE BEGIN startRoutineMT */
  /* Infinite loop */
  for(;;)
  {
    routine_acquire = osMutexAcquire(LED2_MutexHandle, 1);
    if(routine_acquire == osOK)
    {
    	osThreadResume(fastBlkHandle);
    	osDelay(2000);
    	osThreadSuspend(fastBlkHandle);
    	osMutexRelease(LED2_MutexHandle);
    	osDelay(8000);
    }
    else
    	osDelay(10000);
  }
  /* USER CODE END startRoutineMT */
}

void startSlowBlk(void *argument)
{
  /* USER CODE BEGIN startSlowBlk */
  /* Infinite loop */
  for(;;)
  {
	  HAL_GPIO_TogglePin(LED2_GPIO_Port, LED2_Pin);
	  osDelay(500);
  }
  /* USER CODE END startSlowBlk */
}

void startBtnBlkMT(void *argument)
{
  /* USER CODE BEGIN startBtnBlkMT */
  /* Infinite loop */
  for(;;)
  {
	  if(long_press > 0)
	  {
		  long_press = 0;
		  btn_acquire = osMutexAcquire(LED2_MutexHandle, 1);
		  if(btn_acquire == osOK)
		  {
			  osThreadResume(fastBlkHandle);
			  osDelay(5000);
			  osThreadSuspend(fastBlkHandle);
			  osMutexRelease(LED2_MutexHandle);
		  }
	  }
	  if(short_press > 0)
	  {
		  short_press = 0;
		  btn_acquire = osMutexAcquire(LED2_MutexHandle, 1);
		  if(btn_acquire == osOK)
		  {
			  osThreadResume(slowBlkHandle);
			  osDelay(5000);
			  osThreadSuspend(slowBlkHandle);
			  osMutexRelease(LED2_MutexHandle);
		  }
	  }
    osDelay(10);
  }
  /* USER CODE END startBtnBlkMT */
}

void startBtnMT(void *argument)
{
  /* USER CODE BEGIN startBtnMT */
  /* Infinite loop */
  for(;;)
  {
    if(button > 0)
    {
    	button = 0;
    	int is_short = 0;
    	for(int millis = 0; millis < 1000; millis+=1)
    	{
    		osDelay(1);

    		if(HAL_GPIO_ReadPin(BUTTON_EXTI13_GPIO_Port, BUTTON_EXTI13_Pin) == 1)
    		{
    			short_press = 1;
    			is_short = 1;
    			break ;
    		}
    	}
    	if(is_short == 0)
    	{
    		long_press = 1;
    	}
    }
    osDelay(1);
  }
  /* USER CODE END startBtnMT */
}

void HAL_TIM_PeriodElapsedCallback(TIM_HandleTypeDef *htim)
{
  if (htim->Instance == TIM6)
  {
    HAL_IncTick();
  }
}

void Error_Handler(void)
{
  __disable_irq();
  while (1)
  {
  }
}
